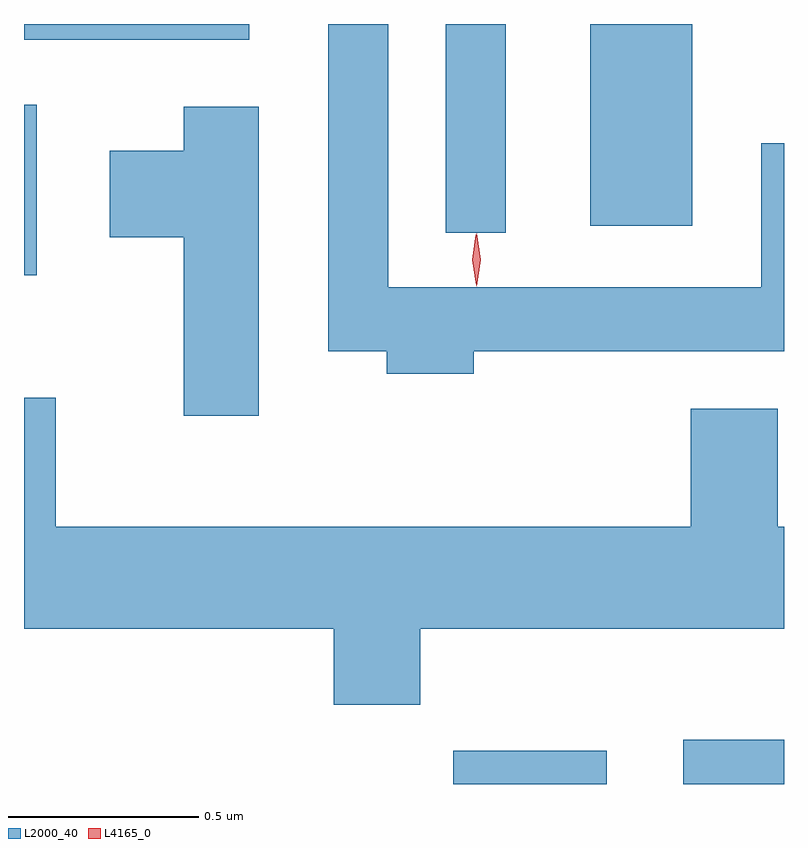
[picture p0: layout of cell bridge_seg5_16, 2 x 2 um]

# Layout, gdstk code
import gdstk
lib = gdstk.Library(unit=1e-6, precision=1e-09)
def R(c, l, rs):  # rectangles x0, y0, x1, y1
    for r in rs: c.add(gdstk.rectangle(r[:2], r[2:], *l))
def P(c, l, *ps):  # polygons
    for p in ps: c.add(gdstk.Polygon(p, *l))
L2000_40 = (2000, 40)
L4165_0 = (4165, 0)

bridge_seg5_16 = lib.new_cell('bridge_seg5_16')
R(bridge_seg5_16, L2000_40, [(1246.086,1476.367,1246.489,1476.454), (1246.691,1476.367,1246.956,1476.484), (1244.956,1477.706,1244.989,1478.154), (1246.066,1477.818,1246.224,1478.367), (1246.446,1477.836,1246.714,1478.367), (1244.956,1478.326,1245.549,1478.367)])
P(bridge_seg5_16, L2000_40, [(1246.139,1477.506),(1246.956,1477.506),(1246.956,1478.053),(1246.896,1478.053),(1246.896,1477.674),(1245.914,1477.674),(1245.914,1478.367),(1245.756,1478.367),(1245.756,1477.506),(1245.911,1477.506),(1245.911,1477.446),(1246.139,1477.446)],
  [(1245.574,1478.149),(1245.376,1478.149),(1245.376,1478.034),(1245.181,1478.034),(1245.181,1477.806),(1245.376,1477.806),(1245.376,1477.336),(1245.574,1477.336)],
  [(1245.999,1476.776),(1246.956,1476.776),(1246.956,1477.044),(1246.939,1477.044),(1246.939,1477.354),(1246.711,1477.354),(1246.711,1477.044),(1245.039,1477.044),(1245.039,1477.384),(1244.956,1477.384),(1244.956,1476.776),(1245.771,1476.776),(1245.771,1476.576),(1245.999,1476.576)])
P(bridge_seg5_16, L4165_0, [(1246.148,1477.677),(1246.148,1477.677),(1246.138,1477.747),(1246.148,1477.816),(1246.148,1477.816),(1246.148,1477.816),(1246.158,1477.747),(1246.148,1477.677)],
  [(1246.146,1477.679),(1246.146,1477.68),(1246.136,1477.746),(1246.145,1477.812),(1246.146,1477.813),(1246.146,1477.812),(1246.156,1477.746),(1246.146,1477.68)])

lib.write_gds('bridge_seg5_16.gds')
